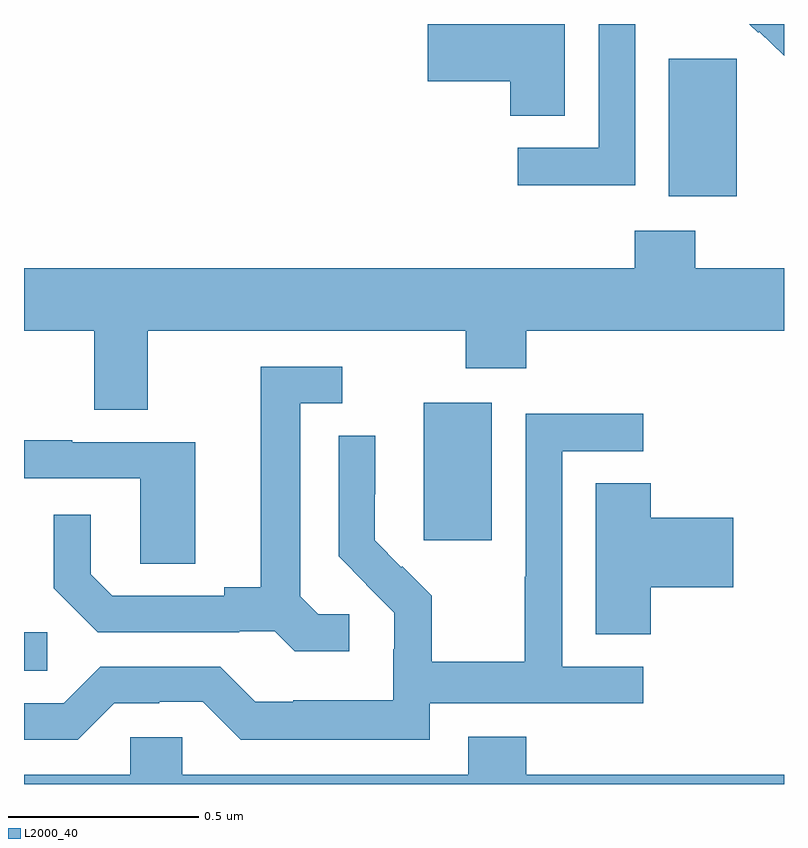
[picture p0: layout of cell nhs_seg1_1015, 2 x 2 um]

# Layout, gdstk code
import gdstk
lib = gdstk.Library(unit=1e-6, precision=1e-09)
def R(c, l, rs):  # rectangles x0, y0, x1, y1
    for r in rs: c.add(gdstk.rectangle(r[:2], r[2:], *l))
def P(c, l, *ps):  # polygons
    for p in ps: c.add(gdstk.Polygon(p, *l))
L2000_40 = (2000, 40)

nhs_seg1_1015 = lib.new_cell('nhs_seg1_1015')
R(nhs_seg1_1015, L2000_40, [(123,557.497,123.061,557.598), (124.052,557.841,124.231,558.202), (124.697,558.746,124.876,559.107)])
P(nhs_seg1_1015, L2000_40, [(124.423,559.199),(124.062,559.199),(124.062,559.049),(124.28,559.049),(124.28,558.958),(124.423,558.958)],
  [(125,559.199),(124.909,559.199),(124.932,559.176),(124.935,559.179),(125,559.115)],
  [(124.608,559.199),(124.512,559.199),(124.512,558.873),(124.299,558.873),(124.299,558.775),(124.608,558.775)],
  [(123.325,558.392),(124.162,558.392),(124.162,558.293),(124.322,558.293),(124.322,558.392),(125,558.392),(125,558.556),(124.767,558.556),(124.767,558.655),(124.607,558.655),(124.607,558.556),(123,558.556),(123,558.392),(123.185,558.392),(123.185,558.184),(123.325,558.184)],
  [(123.856,557.646),(123.774,557.646),(123.727,557.693),(123.727,558.201),(123.838,558.201),(123.838,558.297),(123.623,558.297),(123.623,557.717),(123.527,557.717),(123.527,557.694),(123.232,557.694),(123.175,557.751),(123.175,557.908),(123.078,557.908),(123.078,557.714),(123.194,557.598),(123.566,557.598),(123.566,557.601),(123.66,557.601),(123.712,557.549),(123.856,557.549)],
  [(124.068,557.412),(124.63,557.412),(124.63,557.508),(124.416,557.508),(124.416,558.075),(124.63,558.075),(124.63,558.174),(124.32,558.174),(124.32,557.744),(124.318,557.744),(124.318,557.521),(124.073,557.521),(124.073,557.695),(123.996,557.772),(123.993,557.769),(123.923,557.84),(123.923,557.962),(123.924,557.962),(123.924,558.116),(123.828,558.116),(123.828,557.798),(123.901,557.725),(123.9,557.724),(123.974,557.65),(123.974,557.553),(123.972,557.553),(123.972,557.419),(123.709,557.419),(123.709,557.415),(123.609,557.415),(123.516,557.508),(123.201,557.508),(123.105,557.412),(123,557.412),(123,557.316),(123.141,557.316),(123.237,557.412),(123.356,557.412),(123.356,557.415),(123.471,557.415),(123.571,557.315),(124.068,557.315)],
  [(123.451,558.099),(123.127,558.099),(123.127,558.103),(123,558.103),(123,558.003),(123.306,558.003),(123.306,557.779),(123.451,557.779)],
  [(124.649,557.717),(124.867,557.717),(124.867,557.9),(124.649,557.9),(124.649,557.99),(124.505,557.99),(124.505,557.593),(124.649,557.593)],
  [(125,557.224),(124.322,557.224),(124.322,557.323),(124.169,557.323),(124.169,557.224),(123.417,557.224),(123.417,557.322),(123.279,557.322),(123.279,557.224),(123,557.224),(123,557.199),(125,557.199)])

lib.write_gds('nhs_seg1_1015.gds')
